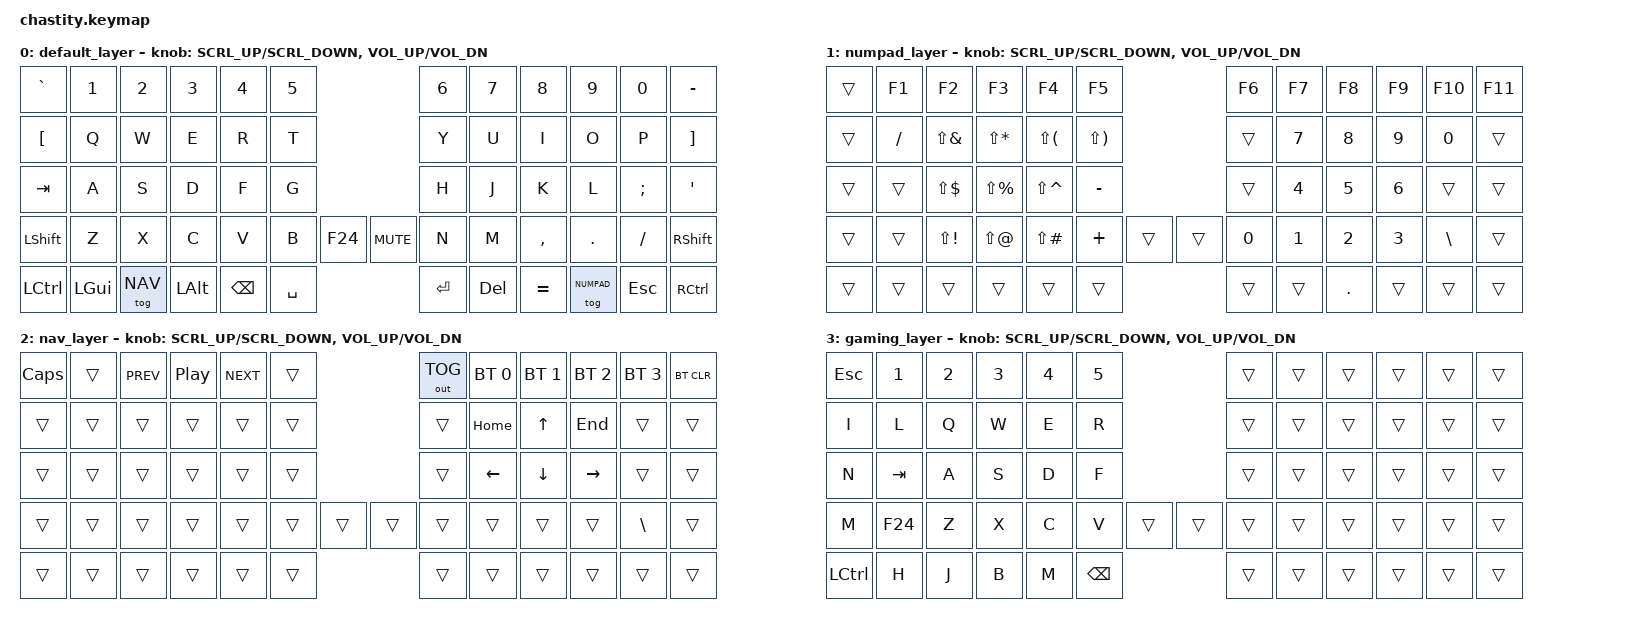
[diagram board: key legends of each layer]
#include <behaviors.dtsi>
#include <dt-bindings/zmk/keys.h>
#include <dt-bindings/zmk/pointing.h>
#include <dt-bindings/zmk/bt.h>
#include <dt-bindings/zmk/outputs.h>

#define DEFAULT 0
#define NUMPAD  1
#define NAV     2
#define GAMING  3

/ {
    behaviors {
        inc_dec_msc: inc_dec_msc {
            compatible = "zmk,behavior-sensor-rotate-var";
            #sensor-binding-cells = <2>;
            bindings = <&msc>, <&msc>;
        };
    };

    combos {
        compatible = "zmk,combos";

        // Hold RCTRL + RET (right thumb) + P together to toggle GAMING (WASD->ESDF).
        combo_toggle_gaming {
            timeout-ms = <60>;
            require-prior-idle-ms = <100>;
            key-positions = <61 56 22>;
            bindings = <&tog GAMING>;
        };
    };

    keymap {
        compatible = "zmk,keymap";

        default_layer {
            bindings = <
                &kp GRAVE   &kp N1     &kp N2    &kp N3     &kp N4    &kp N5                              &kp N6     &kp N7    &kp N8     &kp N9       &kp N0    &kp MINUS
                &kp LBKT    &kp Q      &kp W     &kp E      &kp R     &kp T                               &kp Y      &kp U     &kp I      &kp O        &kp P     &kp RBKT
                &kp TAB     &kp A      &kp S     &kp D      &kp F     &kp G                               &kp H      &kp J     &kp K      &kp L        &kp SEMI  &kp SQT
                &kp LSHFT   &kp Z      &kp X     &kp C      &kp V     &kp B      &kp F24      &kp C_MUTE  &kp N      &kp M     &kp COMMA  &kp DOT      &kp FSLH  &kp RSHFT
                &kp LCTRL   &kp LGUI   &tog NAV  &kp LALT   &kp BSPC  &kp SPACE                           &kp RET    &kp DEL   &kp EQUAL  &tog NUMPAD  &kp ESC   &kp RCTRL
            >;

            sensor-bindings = <&inc_dec_msc SCRL_UP SCRL_DOWN &inc_dec_kp C_VOL_UP C_VOL_DN>;
        };

        numpad_layer {
            bindings = <
                &trans  &kp F1    &kp F2        &kp F3         &kp F4         &kp F5                                  &kp F6  &kp F7  &kp F8   &kp F9  &kp F10   &kp F11
                &trans  &kp FSLH  &kp LS(AMPS)  &kp LS(STAR)   &kp LS(LPAR)   &kp LS(RPAR)                            &trans  &kp N7  &kp N8   &kp N9  &kp N0    &trans
                &trans  &trans    &kp LS(DLLR)  &kp LS(PRCNT)  &kp LS(CARET)  &kp MINUS                               &trans  &kp N4  &kp N5   &kp N6  &trans    &trans
                &trans  &trans    &kp LS(EXCL)  &kp LS(AT)     &kp LS(POUND)  &kp PLUS      &trans         &trans     &kp N0  &kp N1  &kp N2   &kp N3  &kp BSLH  &trans
                &trans  &trans    &trans        &trans         &trans         &trans                                  &trans  &trans  &kp DOT  &trans  &trans    &trans
            >;

            sensor-bindings = <&inc_dec_msc SCRL_UP SCRL_DOWN &inc_dec_kp C_VOL_UP C_VOL_DN>;
        };

        nav_layer {
            bindings = <
                &kp CAPS  &trans  &kp C_PREV  &kp C_PP  &kp C_NEXT  &trans                                  &out OUT_TOG  &bt BT_SEL 0  &bt BT_SEL 1  &bt BT_SEL 2  &bt BT_SEL 3  &bt BT_CLR
                &trans    &trans  &trans      &trans    &trans      &trans                                  &trans  &kp HOME  &kp UP    &kp END    &trans    &trans
                &trans    &trans  &trans      &trans    &trans      &trans                                  &trans  &kp LEFT  &kp DOWN  &kp RIGHT  &trans    &trans
                &trans    &trans  &trans      &trans    &trans      &trans   &trans         &trans          &trans  &trans    &trans    &trans     &kp BSLH  &trans
                &trans    &trans  &trans      &trans    &trans      &trans                                  &trans  &trans    &trans    &trans     &trans    &trans
            >;

            sensor-bindings = <&inc_dec_msc SCRL_UP SCRL_DOWN &inc_dec_kp C_VOL_UP C_VOL_DN>;
        };

        // GAMING: every binding on the LEFT half is shifted ONE column to the RIGHT.
        // The now-blank leftmost column is filled with right-side staples (Esc / Enter / Bspc / LShift / LCtrl).
        // Right half is transparent so it falls through to the default layer.
        gaming_layer {
            bindings = <
                &kp ESC    &kp N1     &kp N2    &kp N3     &kp N4    &kp N5                              &trans     &trans    &trans     &trans       &trans    &trans
                &kp I      &kp L      &kp Q     &kp W      &kp E     &kp R                               &trans     &trans    &trans     &trans       &trans    &trans
                &kp N      &kp TAB    &kp A     &kp S      &kp D     &kp F                               &trans     &trans    &trans     &trans       &trans    &trans
                &kp M      &kp F24    &kp Z     &kp X      &kp C     &kp V      &trans       &trans      &trans     &trans    &trans     &trans       &trans    &trans
                &kp LCTRL  &kp H      &kp J     &kp B      &kp M     &kp BSPC                            &trans     &trans    &trans     &trans       &trans    &trans
            >;

            sensor-bindings = <&inc_dec_msc SCRL_UP SCRL_DOWN &inc_dec_kp C_VOL_UP C_VOL_DN>;
        };
    };
};
